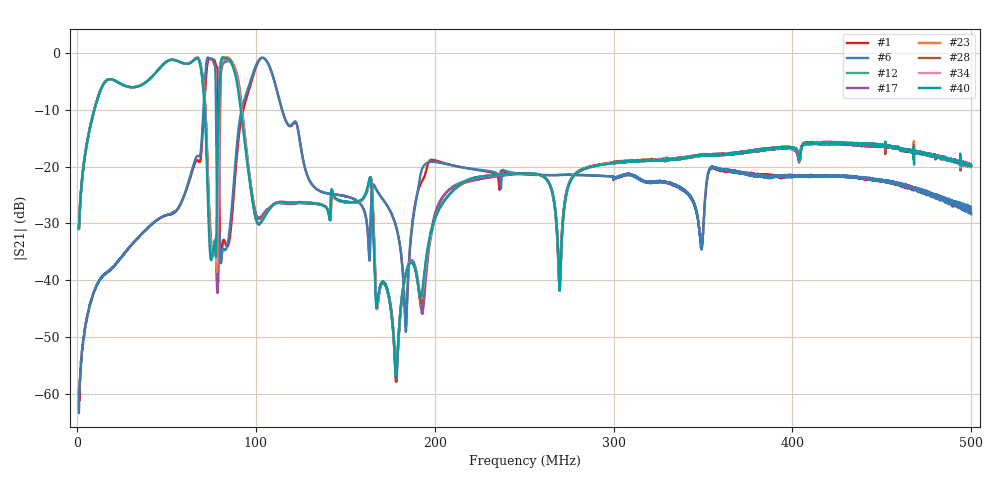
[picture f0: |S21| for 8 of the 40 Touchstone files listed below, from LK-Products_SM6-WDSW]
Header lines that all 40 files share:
! NanoVNA-App
! Start: 1MHz Stop: 500MHz Points: 6401
! S-Parameter data: F S11 S21 S12 S22
# Hz S RI R 50
!  Frequency  S11_Real  S11_Imag  S21_Real  S21_Imag  S12_Real  S12_Imag  S22_Real  S22_Imag
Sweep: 1 MHz to 500 MHz
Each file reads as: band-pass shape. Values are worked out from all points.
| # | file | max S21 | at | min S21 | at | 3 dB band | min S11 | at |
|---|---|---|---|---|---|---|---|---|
| 1 | 4MRX_8_6_6.s2p | -0.90 dB | 103.8 MHz | -62.7 dB | 1 MHz | 98.62 MHz-109.2 MHz | -22.1 dB | 103.8 MHz |
| 2 | 4MRX_8_8_8.s2p | -0.78 dB | 73.82 MHz | -60.8 dB | 1 MHz | 98.54 MHz-109.1 MHz | -27.8 dB | 77.96 MHz |
| 3 | 4MRX_9_6_6.s2p | -0.89 dB | 103.7 MHz | -63.2 dB | 1 MHz | 98.54 MHz-109.2 MHz | -22.5 dB | 103.8 MHz |
| 4 | 4MRX_9_9_9.s2p | -0.80 dB | 73.43 MHz | -60.1 dB | 1.078 MHz | 98.38 MHz-109.1 MHz | -42.3 dB | 77.57 MHz |
| 5 | 4MRX_10_6_6.s2p | -0.89 dB | 103.6 MHz | -61.4 dB | 1 MHz | 98.54 MHz-109.2 MHz | -22.9 dB | 103.8 MHz |
| 6 | 4MRX_10_10_10.s2p | -0.83 dB | 73.2 MHz | -63.3 dB | 1 MHz | 98.15 MHz-109.2 MHz | -34.1 dB | 72.89 MHz |
| 7 | 4MRX_11_6_6.s2p | -0.89 dB | 103.7 MHz | -60.2 dB | 1.078 MHz | 98.54 MHz-109.2 MHz | -23.2 dB | 103.8 MHz |
| 8 | 4MRX_11_11_11.s2p | -0.86 dB | 103.5 MHz | -62.5 dB | 1 MHz | 97.99 MHz-109.2 MHz | -24.4 dB | 72.65 MHz |
| 9 | 4MRX_12_6_6.s2p | -0.89 dB | 103.6 MHz | -66.0 dB | 1 MHz | 98.54 MHz-109.2 MHz | -23.5 dB | 103.8 MHz |
| 10 | 4MRX_12_12_12.s2p | -0.86 dB | 103.5 MHz | -60.8 dB | 1.078 MHz | 97.92 MHz-109.2 MHz | -21.4 dB | 103.7 MHz |
| 11 | 4MTX_0_0_0.s2p | -0.87 dB | 67.2 MHz | -59.5 dB | 178.5 MHz | 42.95 MHz-70.08 MHz | -19.4 dB | 67.51 MHz |
| 12 | 4MTX_0_6_6.s2p | -0.90 dB | 67.12 MHz | -57.5 dB | 178.5 MHz | 42.87 MHz-69.92 MHz | -18.4 dB | 67.43 MHz |
| 13 | 4MTX_1_1_1.s2p | -0.87 dB | 67.27 MHz | -56.8 dB | 178.5 MHz | 42.95 MHz-70.08 MHz | -19.4 dB | 67.51 MHz |
| 14 | 4MTX_1_6_6.s2p | -0.90 dB | 67.12 MHz | -57.1 dB | 178.5 MHz | 42.87 MHz-69.85 MHz | -18.4 dB | 67.43 MHz |
| 15 | 4MTX_2_2_2.s2p | -0.87 dB | 67.2 MHz | -57.4 dB | 178.5 MHz | 42.95 MHz-70.08 MHz | -19.4 dB | 67.51 MHz |
| 16 | 4MTX_2_6_6.s2p | -0.90 dB | 67.04 MHz | -56.8 dB | 178.5 MHz | 42.87 MHz-69.85 MHz | -18.5 dB | 67.43 MHz |
| 17 | 4MTX_3_3_3.s2p | -0.88 dB | 67.2 MHz | -57.1 dB | 178.5 MHz | 42.95 MHz-70 MHz | -19.4 dB | 67.51 MHz |
| 18 | 4MTX_3_6_6.s2p | -0.89 dB | 67.12 MHz | -57.3 dB | 178.5 MHz | 42.87 MHz-69.85 MHz | -18.6 dB | 67.35 MHz |
| 19 | 4MTX_4_4_4.s2p | -0.88 dB | 67.2 MHz | -57.3 dB | 178.5 MHz | 42.95 MHz-70 MHz | -19.3 dB | 67.51 MHz |
| 20 | 4MTX_4_6_6.s2p | -0.89 dB | 67.12 MHz | -57.4 dB | 178.4 MHz | 42.87 MHz-69.85 MHz | -18.7 dB | 67.35 MHz |
| 21 | 4MTX_5_5_5.s2p | -0.88 dB | 67.12 MHz | -57.6 dB | 178.5 MHz | 42.95 MHz-69.92 MHz | -19.2 dB | 67.43 MHz |
| 22 | 4MTX_5_6_6.s2p | -0.89 dB | 67.12 MHz | -56.9 dB | 178.4 MHz | 42.87 MHz-69.85 MHz | -19.0 dB | 67.43 MHz |
| 23 | 4MTX_6_0_6.s2p | -0.79 dB | 82.17 MHz | -57.3 dB | 178.5 MHz | 43.18 MHz-69.92 MHz | -24.0 dB | 81.54 MHz |
| 24 | 4MTX_6_1_6.s2p | -0.80 dB | 82.17 MHz | -57.1 dB | 178.5 MHz | 43.18 MHz-69.92 MHz | -23.1 dB | 81.54 MHz |
| 25 | 4MTX_6_2_6.s2p | -0.81 dB | 82.09 MHz | -57.6 dB | 178.5 MHz | 43.1 MHz-69.92 MHz | -21.4 dB | 81.46 MHz |
| 26 | 4MTX_6_3_6.s2p | -0.84 dB | 82.24 MHz | -57.9 dB | 178.3 MHz | 43.03 MHz-69.92 MHz | -19.6 dB | 67.43 MHz |
| 27 | 4MTX_6_4_6.s2p | -0.88 dB | 67.12 MHz | -57.7 dB | 178.5 MHz | 42.95 MHz-69.92 MHz | -19.6 dB | 67.43 MHz |
| 28 | 4MTX_6_5_6.s2p | -0.88 dB | 67.12 MHz | -57.9 dB | 178.5 MHz | 42.95 MHz-69.85 MHz | -19.4 dB | 67.43 MHz |
| 29 | 4MTX_6_6_0.s2p | -0.87 dB | 67.12 MHz | -58.2 dB | 178.3 MHz | 42.95 MHz-69.85 MHz | -53.6 dB | 80.06 MHz |
| 30 | 4MTX_6_6_1.s2p | -0.87 dB | 67.12 MHz | -58.0 dB | 178.3 MHz | 42.95 MHz-69.85 MHz | -37.0 dB | 80.06 MHz |
| 31 | 4MTX_6_6_2.s2p | -0.87 dB | 67.12 MHz | -57.9 dB | 178.5 MHz | 42.95 MHz-69.85 MHz | -26.4 dB | 80.06 MHz |
| 32 | 4MTX_6_6_3.s2p | -0.87 dB | 67.12 MHz | -57.7 dB | 178.5 MHz | 42.95 MHz-69.85 MHz | -19.9 dB | 67.35 MHz |
| 33 | 4MTX_6_6_4.s2p | -0.87 dB | 67.12 MHz | -56.9 dB | 178.3 MHz | 42.95 MHz-69.85 MHz | -19.7 dB | 67.43 MHz |
| 34 | 4MTX_6_6_5.s2p | -0.88 dB | 67.12 MHz | -56.8 dB | 178.4 MHz | 42.95 MHz-69.85 MHz | -19.5 dB | 67.35 MHz |
| 35 | 4MTX_6_6_6.s2p | -0.89 dB | 67.12 MHz | -56.7 dB | 178.4 MHz | 42.87 MHz-69.85 MHz | -19.1 dB | 67.35 MHz |
| 36 | 4MTX_6_6_7.s2p | -0.89 dB | 67.12 MHz | -57.1 dB | 178.3 MHz | 42.87 MHz-69.77 MHz | -19.0 dB | 67.35 MHz |
| 37 | 4MTX_6_6_8.s2p | -0.90 dB | 67.04 MHz | -56.7 dB | 178.2 MHz | 42.87 MHz-69.77 MHz | -18.6 dB | 67.35 MHz |
| 38 | 4MTX_6_6_9.s2p | -0.87 dB | 81.46 MHz | -57.2 dB | 178.5 MHz | 42.95 MHz-69.77 MHz | -18.2 dB | 67.35 MHz |
| 39 | 4MTX_6_6_10.s2p | -0.84 dB | 81.39 MHz | -57.0 dB | 178.5 MHz | 43.03 MHz-69.69 MHz | -19.6 dB | 81.15 MHz |
| 40 | 4MTX_6_6_11.s2p | -0.82 dB | 81.31 MHz | -56.8 dB | 178.3 MHz | 43.1 MHz-69.61 MHz | -23.6 dB | 81.15 MHz |
